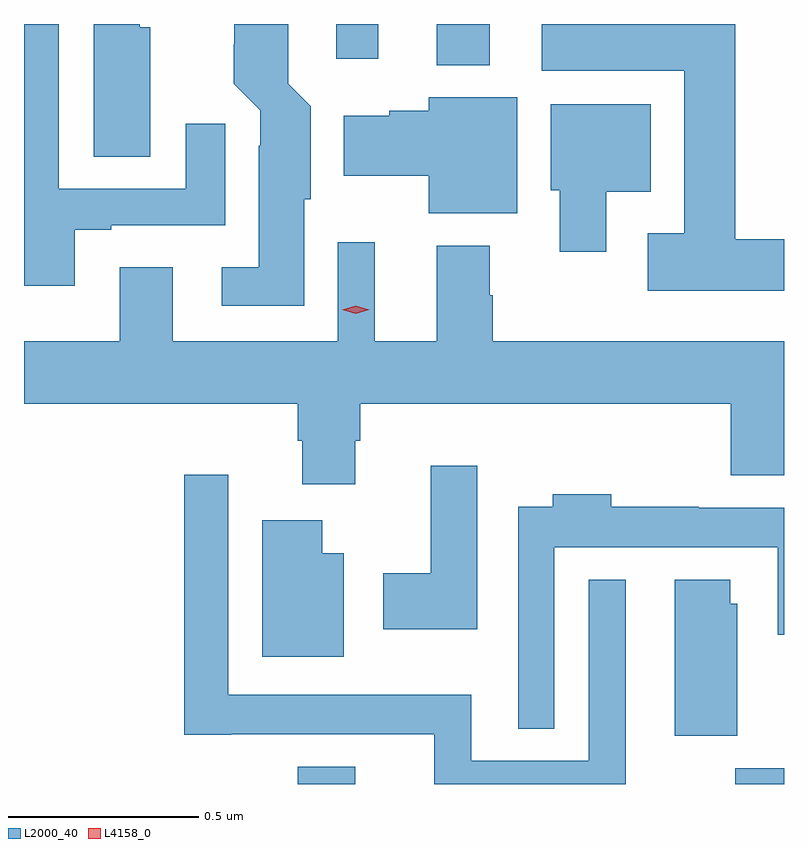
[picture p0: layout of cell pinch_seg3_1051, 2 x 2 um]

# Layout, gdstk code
import gdstk
lib = gdstk.Library(unit=1e-6, precision=1e-09)
def R(c, l, rs):  # rectangles x0, y0, x1, y1
    for r in rs: c.add(gdstk.rectangle(r[:2], r[2:], *l))
def P(c, l, *ps):  # polygons
    for p in ps: c.add(gdstk.Polygon(p, *l))
L2000_40 = (2000, 40)
L4158_0 = (4158, 0)

pinch_seg3_1051 = lib.new_cell('pinch_seg3_1051')
R(pinch_seg3_1051, L2000_40, [(614.783,677.271,614.935,677.317), (615.935,677.271,616.063,677.313), (615.149,679.163,615.289,679.271), (614.885,679.179,614.995,679.271)])
P(pinch_seg3_1051, L2000_40, [(614.8,678.81),(614.818,678.81),(614.818,679.055),(614.759,679.114),(614.759,679.213),(614.758,679.213),(614.758,679.271),(614.616,679.271),(614.616,679.216),(614.615,679.216),(614.615,679.114),(614.685,679.044),(614.685,678.95),(614.681,678.95),(614.681,678.631),(614.583,678.631),(614.583,678.53),(614.8,678.53)],
  [(614.197,678.729),(614.293,678.729),(614.293,678.741),(614.593,678.741),(614.593,679.009),(614.489,679.009),(614.489,678.837),(614.155,678.837),(614.155,679.271),(614.063,679.271),(614.063,678.582),(614.197,678.582)],
  [(616.063,678.704),(615.935,678.704),(615.935,679.271),(615.425,679.271),(615.425,679.148),(615.8,679.148),(615.8,678.721),(615.705,678.721),(615.705,678.569),(616.063,678.569)],
  [(614.395,679.263),(614.368,679.263),(614.368,679.271),(614.246,679.271),(614.246,678.922),(614.395,678.922)],
  [(615.361,679.078),(615.128,679.078),(615.128,679.043),(615.024,679.043),(615.024,679.03),(614.904,679.03),(614.904,678.872),(615.128,678.872),(615.128,678.773),(615.361,678.773)],
  [(615.595,678.83),(615.712,678.83),(615.712,679.06),(615.449,679.06),(615.449,678.834),(615.473,678.834),(615.473,678.672),(615.595,678.672)],
  [(614.935,678.174),(614.948,678.174),(614.948,678.272),(615.923,678.272),(615.923,678.083),(616.063,678.083),(616.063,678.436),(615.297,678.436),(615.297,678.557),(615.289,678.557),(615.289,678.688),(615.149,678.688),(615.149,678.436),(614.986,678.436),(614.986,678.697),(614.889,678.697),(614.889,678.436),(614.455,678.436),(614.455,678.631),(614.315,678.631),(614.315,678.436),(614.063,678.436),(614.063,678.272),(614.783,678.272),(614.783,678.174),(614.795,678.174),(614.795,678.06),(614.935,678.06)],
  [(615.256,678.109),(615.134,678.109),(615.134,677.826),(615.009,677.826),(615.009,677.678),(615.256,677.678)],
  [(615.646,677.809),(615.549,677.809),(615.549,677.332),(615.24,677.332),(615.24,677.506),(614.601,677.506),(614.601,678.085),(614.485,678.085),(614.485,677.4),(614.608,677.4),(614.608,677.402),(615.143,677.402),(615.143,677.271),(615.646,677.271)],
  [(615.459,677.894),(616.047,677.894),(616.047,677.664),(616.063,677.664),(616.063,677.998),(615.839,677.998),(615.839,678.001),(615.608,678.001),(615.608,678.034),(615.455,678.034),(615.455,678.001),(615.363,678.001),(615.363,677.417),(615.459,677.417)],
  [(614.905,677.878),(614.848,677.878),(614.848,677.965),(614.69,677.965),(614.69,677.606),(614.905,677.606)],
  [(615.94,677.745),(615.922,677.745),(615.922,677.809),(615.776,677.809),(615.776,677.398),(615.94,677.398)])
P(pinch_seg3_1051, L4158_0, [(614.936,678.509),(614.901,678.519),(614.901,678.519),(614.901,678.519),(614.936,678.529),(614.971,678.519),(614.971,678.519),(614.971,678.519)])

lib.write_gds('pinch_seg3_1051.gds')
